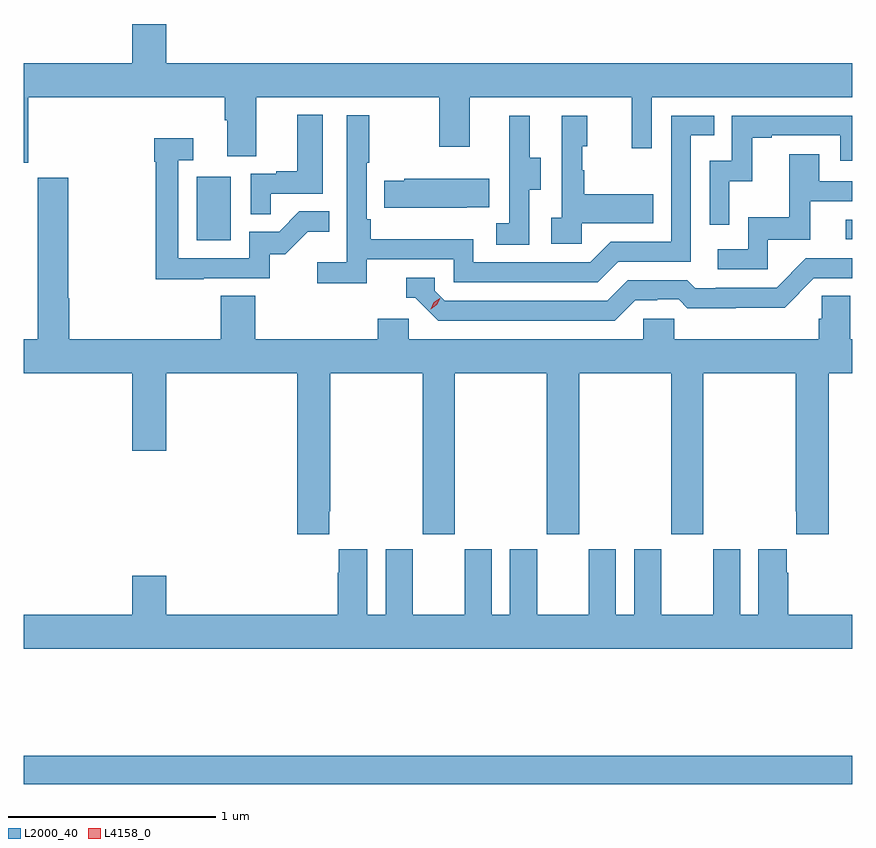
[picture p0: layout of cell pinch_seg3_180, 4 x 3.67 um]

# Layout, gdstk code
import gdstk
lib = gdstk.Library(unit=1e-6, precision=1e-09)
def R(c, l, rs):  # rectangles x0, y0, x1, y1
    for r in rs: c.add(gdstk.rectangle(r[:2], r[2:], *l))
def P(c, l, *ps):  # polygons
    for p in ps: c.add(gdstk.Polygon(p, *l))
L2000_40 = (2000, 40)
L4158_0 = (4158, 0)

pinch_seg3_180 = lib.new_cell('pinch_seg3_180')
R(pinch_seg3_180, L2000_40, [(1015.633,744.22,1019.633,744.356), (1016.468,746.844,1016.632,747.151), (1019.601,746.85,1019.633,746.943)])
P(pinch_seg3_180, L2000_40, [(1015.654,747.536),(1016.603,747.536),(1016.603,747.424),(1016.615,747.424),(1016.615,747.25),(1016.755,747.25),(1016.755,747.536),(1017.64,747.536),(1017.64,747.297),(1017.787,747.297),(1017.787,747.536),(1018.568,747.536),(1018.568,747.288),(1018.665,747.288),(1018.665,747.536),(1019.633,747.536),(1019.633,747.7),(1016.32,747.7),(1016.32,747.889),(1016.156,747.889),(1016.156,747.7),(1015.633,747.7),(1015.633,747.219),(1015.654,747.219)],
  [(1016.825,747.069),(1017.076,747.069),(1017.076,747.451),(1016.954,747.451),(1016.954,747.178),(1016.851,747.178),(1016.851,747.165),(1016.73,747.165),(1016.73,746.971),(1016.825,746.971)],
  [(1017.29,746.754),(1017.708,746.754),(1017.708,746.643),(1018.405,746.643),(1018.504,746.742),(1018.854,746.742),(1018.854,747.351),(1018.967,747.351),(1018.967,747.447),(1018.758,747.447),(1018.758,746.838),(1018.467,746.838),(1018.368,746.739),(1017.804,746.739),(1017.804,746.851),(1017.308,746.851),(1017.308,746.947),(1017.288,746.947),(1017.288,747.22),(1017.301,747.22),(1017.301,747.448),(1017.192,747.448),(1017.192,746.74),(1017.051,746.74),(1017.051,746.638),(1017.29,746.638)],
  [(1019.04,747.131),(1019.15,747.131),(1019.15,747.339),(1019.245,747.339),(1019.245,747.351),(1019.574,747.351),(1019.574,747.228),(1019.633,747.228),(1019.633,747.447),(1019.052,747.447),(1019.052,747.228),(1018.944,747.228),(1018.944,746.919),(1019.04,746.919)],
  [(1018.074,747.088),(1018.129,747.088),(1018.129,747.243),(1018.075,747.243),(1018.075,747.445),(1017.977,747.445),(1017.977,747.231),(1017.978,747.231),(1017.978,746.927),(1017.915,746.927),(1017.915,746.824),(1018.074,746.824)],
  [(1018.326,746.927),(1018.673,746.927),(1018.673,747.067),(1018.339,747.067),(1018.339,747.182),(1018.329,747.182),(1018.329,747.3),(1018.354,747.3),(1018.354,747.445),(1018.23,747.445),(1018.23,746.954),(1018.179,746.954),(1018.179,746.829),(1018.326,746.829)],
  [(1016.501,746.661),(1016.82,746.661),(1016.82,746.778),(1016.896,746.778),(1017.003,746.885),(1017.107,746.885),(1017.107,746.984),(1016.964,746.984),(1016.866,746.886),(1016.721,746.886),(1016.721,746.757),(1016.379,746.757),(1016.379,747.231),(1016.452,747.231),(1016.452,747.337),(1016.263,747.337),(1016.263,747.224),(1016.271,747.224),(1016.271,746.656),(1016.501,746.656)],
  [(1019.226,746.847),(1019.431,746.847),(1019.431,747.033),(1019.633,747.033),(1019.633,747.129),(1019.473,747.129),(1019.473,747.259),(1019.329,747.259),(1019.329,746.956),(1019.13,746.956),(1019.13,746.802),(1018.983,746.802),(1018.983,746.706),(1019.226,746.706)],
  [(1017.109,745.537),(1017.114,745.537),(1017.114,746.204),(1017.559,746.204),(1017.559,745.425),(1017.714,745.425),(1017.714,746.204),(1018.159,746.204),(1018.159,745.425),(1018.314,745.425),(1018.314,746.204),(1018.759,746.204),(1018.759,745.425),(1018.914,745.425),(1018.914,746.204),(1019.359,746.204),(1019.359,745.537),(1019.363,745.537),(1019.363,745.425),(1019.519,745.425),(1019.519,746.204),(1019.633,746.204),(1019.633,746.368),(1019.622,746.368),(1019.622,746.576),(1019.485,746.576),(1019.485,746.466),(1019.471,746.466),(1019.471,746.368),(1018.773,746.368),(1018.773,746.466),(1018.623,746.466),(1018.623,746.368),(1017.492,746.368),(1017.492,746.466),(1017.341,746.466),(1017.341,746.368),(1016.75,746.368),(1016.75,746.576),(1016.585,746.576),(1016.585,746.368),(1015.853,746.368),(1015.853,746.564),(1015.848,746.564),(1015.848,747.147),(1015.7,747.147),(1015.7,746.368),(1015.633,746.368),(1015.633,746.204),(1016.156,746.204),(1016.156,745.83),(1016.32,745.83),(1016.32,746.204),(1016.954,746.204),(1016.954,745.425),(1017.109,745.425)],
  [(1017.773,747.005),(1017.881,747.005),(1017.881,747.142),(1017.471,747.142),(1017.471,747.132),(1017.373,747.132),(1017.373,747.002),(1017.773,747.002)],
  [(1018.585,746.556),(1018.692,746.556),(1018.692,746.559),(1018.795,746.559),(1018.837,746.517),(1019.07,746.517),(1019.07,746.519),(1019.306,746.519),(1019.448,746.661),(1019.633,746.661),(1019.633,746.757),(1019.409,746.757),(1019.268,746.616),(1018.975,746.616),(1018.975,746.613),(1018.876,746.613),(1018.837,746.652),(1018.548,746.652),(1018.449,746.553),(1017.666,746.553),(1017.618,746.601),(1017.618,746.664),(1017.479,746.664),(1017.479,746.568),(1017.522,746.568),(1017.633,746.457),(1018.486,746.457)],
  [(1019.633,745.036),(1019.324,745.036),(1019.324,745.241),(1019.317,745.241),(1019.317,745.354),(1019.18,745.354),(1019.18,745.036),(1019.092,745.036),(1019.092,745.354),(1018.961,745.354),(1018.961,745.036),(1018.711,745.036),(1018.711,745.354),(1018.58,745.354),(1018.58,745.036),(1018.492,745.036),(1018.492,745.354),(1018.361,745.354),(1018.361,745.036),(1018.111,745.036),(1018.111,745.354),(1017.98,745.354),(1017.98,745.036),(1017.892,745.036),(1017.892,745.354),(1017.761,745.354),(1017.761,745.036),(1017.511,745.036),(1017.511,745.354),(1017.38,745.354),(1017.38,745.036),(1017.292,745.036),(1017.292,745.354),(1017.155,745.354),(1017.155,745.241),(1017.149,745.241),(1017.149,745.036),(1016.32,745.036),(1016.32,745.225),(1016.156,745.225),(1016.156,745.036),(1015.633,745.036),(1015.633,744.872),(1019.633,744.872)])
P(pinch_seg3_180, L4158_0, [(1017.597,746.513),(1017.597,746.513),(1017.612,746.546),(1017.642,746.566),(1017.643,746.566),(1017.643,746.566),(1017.628,746.533),(1017.598,746.513)])

lib.write_gds('pinch_seg3_180.gds')
